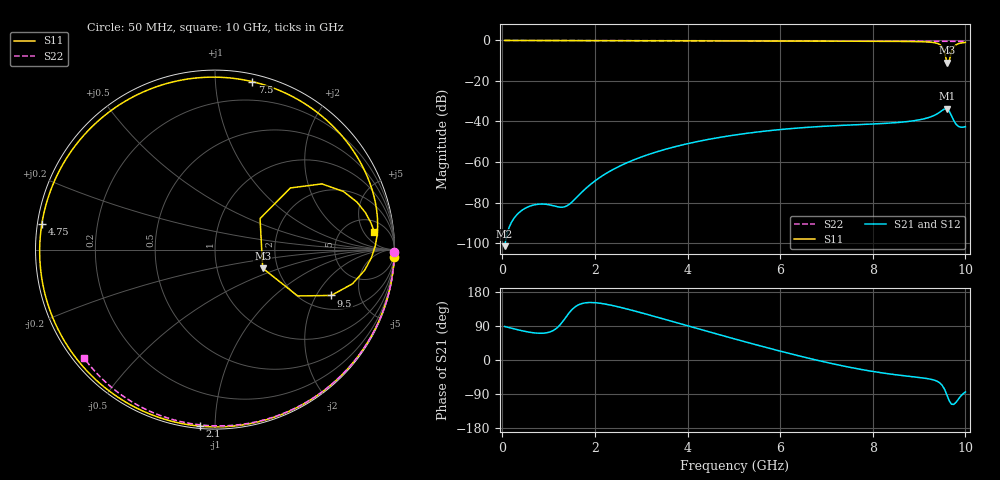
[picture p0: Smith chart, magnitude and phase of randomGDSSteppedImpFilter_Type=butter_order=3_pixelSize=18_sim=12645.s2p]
! freq	dB(S11)	phase(S11)	dB(S12)	phase(S12)
!  dB(S21)	phase(S21)	dB(S22)	phase(S22)
!S-par simulation data
#  GHz  S  DB  R 50
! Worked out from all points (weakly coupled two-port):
!   200 points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, 50 MHz to 10 GHz, reference 50 ohm
!   highest |S21| = -33.70 dB at 9.6 GHz (marker M1); lowest = -101.6 dB at 50 MHz (marker M2)
!   lowest |S11| = -10.9 dB at 9.6 GHz (marker M3), VSWR 1.80, Z = 83.5 - j18.9 ohm
!   |S11| at or under -10 dB: 9.592 GHz to 9.653 GHz (61.51 MHz wide, 0.639 % of centre)
!   |S22| runs from -0.5 to 0.0 dB; largest |S21 - S12| = 0
!   S11 on the Smith chart (normalised r, x): 50 MHz: 0, -47; 2.1 GHz: 0.01, -0.92; 4.75 GHz: 0.01, +0.07; 7.5 GHz: 0.05, +1.25; 9.5 GHz: 2.72, -2.70; 10 GHz: 9, +9
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0.05  -0.00 -2.4  -101.56 88.4  -101.56 88.4  -0.00 -0.8
0.7  -0.04 -33.6  -81.12 71.4  -81.12 71.4  -0.01 -11.3
1.5  -0.08 -69.8  -79.84 132.4  -79.84 132.4  -0.03 -24.1
1.75  -0.10 -80.4  -74.19 149.9  -74.19 149.9  -0.04 -28.0
2.1  -0.11 -94.8  -67.74 150.0  -67.74 150.0  -0.04 -33.5
3.4  -0.16 -143.2  -54.54 111.1  -54.54 111.1  -0.07 -53.3
4.05  -0.18 -165.3  -50.72 88.6  -50.72 88.6  -0.09 -62.8
4.75  -0.22 171.5  -47.64 64.6  -47.64 64.6  -0.11 -72.8
5.05  -0.23 161.7  -46.58 54.5  -46.58 54.5  -0.12 -77.0
5.8  -0.27 136.8  -44.44 29.8  -44.44 29.8  -0.15 -87.2
6.7  -0.32 106.0  -42.71 2.2  -42.71 2.2  -0.19 -99.1
7.5  -0.37 77.5  -41.74 -19.2  -41.74 -19.2  -0.24 -109.3
8.35  -0.44 45.7  -40.81 -36.6  -40.81 -36.6  -0.31 -120.0
9.2  -0.77 8.0  -38.10 -49.5  -38.10 -49.5  -0.38 -130.4
9.4  -1.50 -7.9  -36.11 -56.7  -36.11 -56.7  -0.41 -132.9
9.5  -3.14 -21.5  -34.54 -67.1  -34.54 -67.1  -0.42 -134.1
9.55  -5.54 -29.3  -33.81 -77.2  -33.81 -77.2  -0.42 -134.7
9.6  -10.89 -21.3  -33.70 -91.9  -33.70 -91.9  -0.43 -135.3
9.65  -10.32 34.6  -34.89 -107.4  -34.89 -107.4  -0.43 -135.9
9.7  -5.31 39.3  -37.17 -116.7  -37.17 -116.7  -0.44 -136.5
9.8  -2.10 24.3  -41.43 -111.4  -41.43 -111.4  -0.45 -137.8
10  -0.98 6.4  -42.58 -84.3  -42.58 -84.3  -0.47 -140.2
